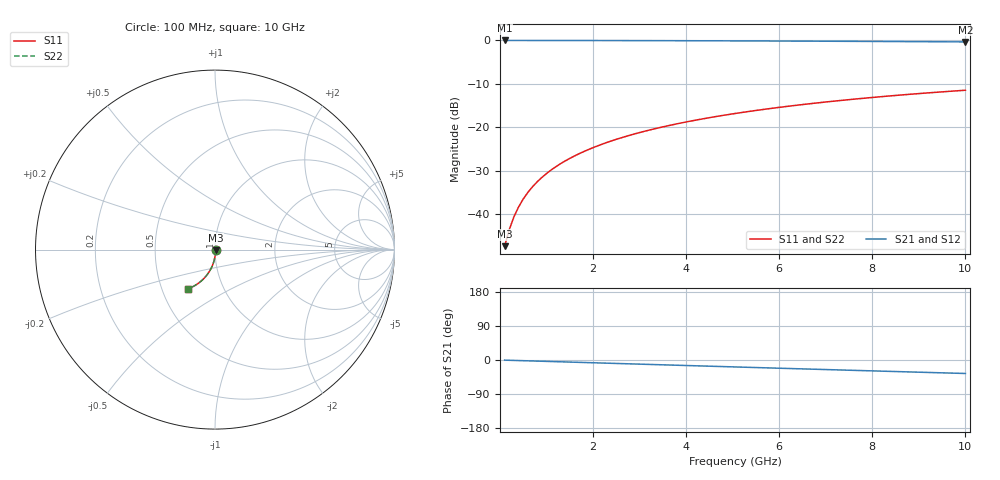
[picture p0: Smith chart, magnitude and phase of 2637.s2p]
# Hz S RI R 50.00
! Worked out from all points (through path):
!   100 points, 100 MHz to 10 GHz, reference 50 ohm
!   highest |S21| = -0.03 dB at 100 MHz (marker M1); lowest = -0.4 dB at 10 GHz (marker M2)
!   group delay of S21, straight-line fit = 9.9 ps
!   lowest |S11| = -47.4 dB at 100 MHz (marker M3), VSWR 1.01, Z = 50.3 - j0.295 ohm
!   |S11| at or under -10 dB: start of sweep to end of sweep
!   |S22| runs from -47.4 to -11.5 dB; largest |S21 - S12| = 0
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1e8  0.00311 -0.00294  0.9968 -0.00634  0.9968 -0.00634  0.00311 -0.00294
2e8  0.00307 -0.00587  0.9967 -0.0127  0.9967 -0.0127  0.00307 -0.00587
3e8  0.00299 -0.00881  0.9966 -0.019  0.9966 -0.019  0.00299 -0.00881
4e8  0.00286 -0.0117  0.9964 -0.0254  0.9964 -0.0254  0.00286 -0.0117
5e8  0.0027 -0.0147  0.9962 -0.0317  0.9962 -0.0317  0.0027 -0.0147
6e8  0.0025 -0.0176  0.9959 -0.038  0.9959 -0.038  0.0025 -0.0176
7e8  0.00227 -0.0205  0.9956 -0.0444  0.9956 -0.0444  0.00227 -0.0205
9e8  0.00168 -0.0264  0.9948 -0.057  0.9948 -0.057  0.00168 -0.0264
1e9  0.00133 -0.0293  0.9943 -0.0634  0.9943 -0.0634  0.00133 -0.0293
1.2e9  0.000518 -0.0351  0.9932 -0.076  0.9932 -0.076  0.000518 -0.0351
1.5e9  -0.000975 -0.0437  0.9912 -0.0949  0.9912 -0.0949  -0.000975 -0.0437
1.8e9  -0.0028 -0.0523  0.9887 -0.1137  0.9887 -0.1137  -0.0028 -0.0523
2.1e9  -0.00494 -0.0609  0.9859 -0.1324  0.9859 -0.1324  -0.00494 -0.0609
2.5e9  -0.0083 -0.0721  0.9814 -0.1572  0.9814 -0.1572  -0.0083 -0.0721
2.9e9  -0.0122 -0.0831  0.9762 -0.1819  0.9762 -0.1819  -0.0122 -0.0831
3.4e9  -0.0179 -0.0965  0.9686 -0.2123  0.9686 -0.2123  -0.0179 -0.0965
4.2e9  -0.0286 -0.117  0.9543 -0.2601  0.9543 -0.2601  -0.0286 -0.117
5.1e9  -0.043 -0.1387  0.9348 -0.3123  0.9348 -0.3123  -0.043 -0.1387
5.9e9  -0.0576 -0.1563  0.9149 -0.3572  0.9149 -0.3572  -0.0576 -0.1563
6.7e9  -0.0738 -0.1723  0.8926 -0.4003  0.8926 -0.4003  -0.0738 -0.1723
8.4e9  -0.1124 -0.2003  0.8384 -0.4859  0.8384 -0.4859  -0.1124 -0.2003
1e10  -0.1524 -0.2186  0.7802 -0.5582  0.7802 -0.5582  -0.1524 -0.2186
